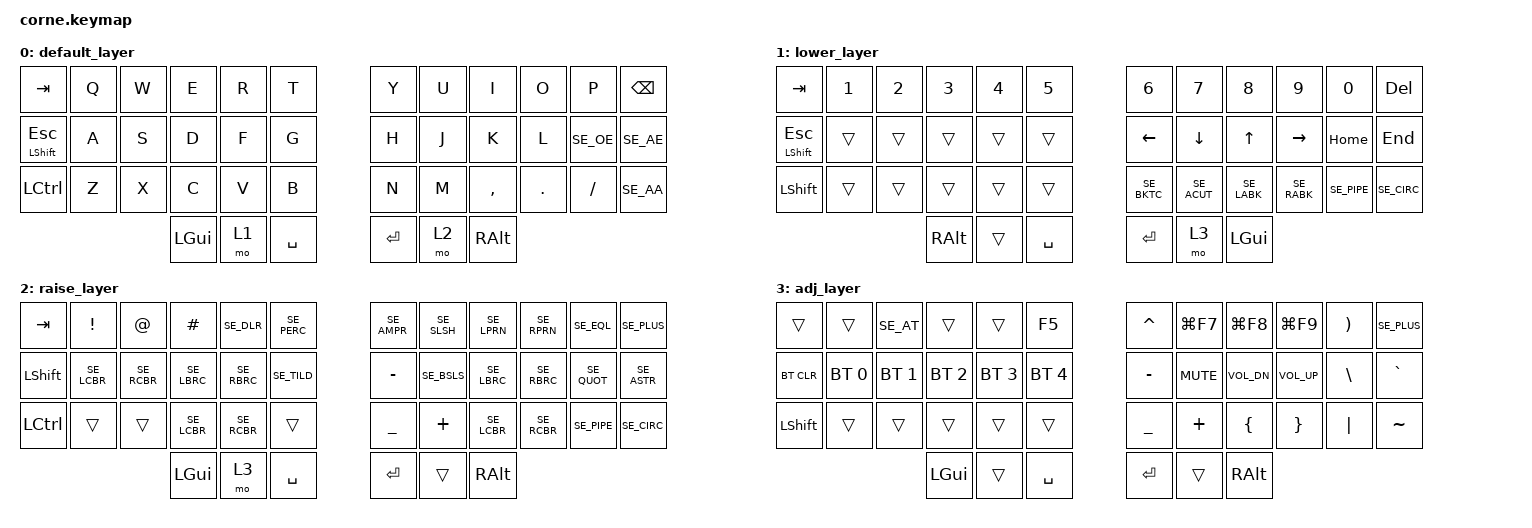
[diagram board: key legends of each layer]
#include <behaviors.dtsi>
#include <dt-bindings/zmk/keys.h>
#include <dt-bindings/zmk/bt.h>
#include "keys-swedish.h"

#define DEFAULT 0
#define LOWER   1
#define RAISE   2
#define ADJ     3

/ {
        keymap {
                compatible = "zmk,keymap";

                default_layer {
// -----------------------------------------------------------------------------------------
// |  TAB |  Q  |  W  |  E  |  R  |  T  |   |  Y  |  U   |  I  |  O  |  P  | BKSP |
// |  E/S |  A  |  S  |  D  |  F  |  G  |   |  H  |  J   |  K  |  L  |  Ö  |  Ä   |
// | CTRL |  Z  |  X  |  C  |  V  |  B  |   |  N  |  M   |  ,  |  .  |  -  |  Å   |
//                    | GUI | LWR | SPC |   | ENT | RSE  | ALT |
                        bindings = <
   &kp TAB        &kp Q &kp W &kp E &kp R &kp T   &kp Y &kp U  &kp I     &kp O   &kp P     &kp BSPC
   &mt LSHIFT ESC &kp A &kp S &kp D &kp F &kp G   &kp H &kp J  &kp K     &kp L   &kp SE_OE &kp SE_AE
   &kp LCTRL      &kp Z &kp X &kp C &kp V &kp B   &kp N &kp M  &kp COMMA &kp DOT &kp FSLH  &kp SE_AA
                  &kp LGUI &mo 1 &kp SPACE   &kp RET &mo 2 &kp RALT
                        >;
                };
                lower_layer {
// -----------------------------------------------------------------------------------------
// |  TAB |  1  |  2  |  3  |  4  |  5  |   |  6  |  7  |  8  |  9  |  0  | DEL  |
// |      |     |     |     |     |     |   | LFT | DWN |  UP | RGT |HOME | END  |
// | SHFT |     |     |     |     |     |   |  `  |  ´  |  <  |  >  | "|" |  ^   |
//                    | GUI |     | SPC |   | ENT |     | ALT |
                        bindings = <
   &kp TAB        &kp N1       &kp N2       &kp N3       &kp N4       &kp N5         &kp N6       &kp N7        &kp N8      &kp N9         &kp N0      &kp DEL
   &mt LSHIFT ESC &trans       &trans       &trans       &trans       &trans         &kp LEFT     &kp DOWN      &kp UP      &kp RIGHT      &kp HOME    &kp END
   &kp LSHFT      &trans       &trans       &trans       &trans       &trans         &kp SE_BKTC  &kp SE_ACUT   &kp SE_LABK &kp SE_RABK    &kp SE_PIPE &kp SE_CIRC
                          	        &kp RALT     &trans       &kp SPACE      &kp RET  &mo 3   &kp LGUI
                        >;
                };

                raise_layer {
// -----------------------------------------------------------------------------------------
// |  TAB |  !  |  "  |  #  |  $  |  %  |   |  &  |  /  |  (  |  )  |  =  |  +   |
// | SHFT |  {  |  }  |  [  |  ]  |  ~  |   |  +  |  \  |  [  |  ]  |  '  |  *   |
// | CTRL |     |     |     |     |     |   |  ?  |  `  |  {  |  }  |  |  |  ^   |
//                    | GUI |     | SPC |   | ENT |     | ALT |
                        bindings = <
   &kp TAB   &kp EXCL &kp AT     &kp HASH      &kp SE_DLR       &kp SE_PERC    &kp SE_AMPR &kp SE_SLSH  &kp SE_LPRN     &kp SE_RPRN    &kp SE_EQL  &kp SE_PLUS
   &kp LSHFT &kp SE_LCBR &kp SE_RCBR  &kp SE_LBRC   &kp SE_RBRC      &kp SE_TILD    &kp MINUS   &kp SE_BSLS  &kp SE_LBRC     &kp SE_RBRC    &kp SE_QUOT &kp SE_ASTR
   &kp LCTRL &trans   &trans     &kp SE_LCBR   &kp SE_RCBR      &trans         &kp UNDER   &kp PLUS     &kp SE_LCBR     &kp SE_RCBR    &kp SE_PIPE &kp SE_CIRC
                    	     &kp LGUI &mo 3   &kp SPACE   &kp RET   &trans    &kp RALT
                        >;
                };
                
                adj_layer {
// -----------------------------------------------------------------------------------------
// |      |     |  @  |     |  $  | F5  |   |     | PLAY| PREV| NEXT|     |      |
// | BCLR | BT1 | BT2 | BT3 | BT4 | BT5 |   |     | MUTE| LOWR| HIGH|     |      |
// |      |     |     |     |     |     |   |     |     |     |     |     |      |
//                    |     |     |     |   |     |     |     |
                        bindings = <
   &trans     &trans       &kp SE_AT       &trans       &trans       &kp F5       &kp CARET &kp LG(F7)   &kp LG(F8)      &kp LG(F9)   &kp RPAR &kp SE_PLUS
   &bt BT_CLR &bt BT_SEL 0 &bt BT_SEL 1    &bt BT_SEL 2 &bt BT_SEL 3 &bt BT_SEL 4 &kp MINUS &kp C_MUTE   &kp C_VOL_DN    &kp C_VOL_UP &kp BSLH &kp GRAVE
   &kp LSHFT  &trans       &trans          &trans       &trans       &trans       &kp UNDER &kp PLUS     &kp LBRC        &kp RBRC     &kp PIPE &kp TILDE
                    	     &kp LGUI &trans   &kp SPACE   &kp RET   &trans       &kp RALT
                        >;
                };
        };
};
